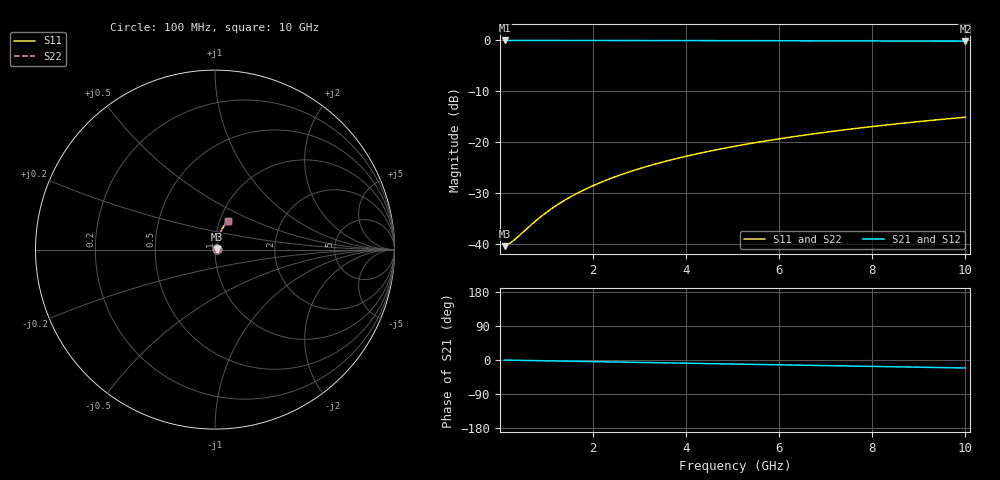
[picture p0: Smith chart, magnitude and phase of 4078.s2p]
# Hz S RI R 50.00
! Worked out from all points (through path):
!   100 points, 100 MHz to 10 GHz, reference 50 ohm
!   highest |S21| = -0.08 dB at 100 MHz (marker M1); lowest = -0.2 dB at 10 GHz (marker M2)
!   group delay of S21, straight-line fit = 5.85 ps
!   lowest |S11| = -40.4 dB at 100 MHz (marker M3), VSWR 1.02, Z = 50.9 + j0.181 ohm
!   |S11| at or under -10 dB: start of sweep to end of sweep
!   |S22| runs from -40.4 to -15.1 dB; largest |S21 - S12| = 0
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1e8  0.00941 0.00178  0.9906 -0.00367  0.9906 -0.00367  0.00941 0.00178
2e8  0.00949 0.00355  0.9905 -0.00734  0.9905 -0.00734  0.00949 0.00355
3e8  0.00957 0.00533  0.9904 -0.011  0.9904 -0.011  0.00957 0.00533
8e8  0.0101 0.0142  0.9898 -0.0294  0.9898 -0.0294  0.0101 0.0142
9e8  0.0102 0.016  0.9896 -0.033  0.9896 -0.033  0.0102 0.016
1.1e9  0.0105 0.0195  0.9893 -0.0403  0.9893 -0.0403  0.0105 0.0195
1.4e9  0.011 0.0248  0.9886 -0.0513  0.9886 -0.0513  0.011 0.0248
1.6e9  0.0115 0.0283  0.988 -0.0586  0.988 -0.0586  0.0115 0.0283
1.8e9  0.0119 0.0318  0.9874 -0.0659  0.9874 -0.0659  0.0119 0.0318
2.1e9  0.0127 0.0371  0.9864 -0.0769  0.9864 -0.0769  0.0127 0.0371
2.5e9  0.014 0.0441  0.9848 -0.0915  0.9848 -0.0915  0.014 0.0441
2.9e9  0.0154 0.051  0.983 -0.106  0.983 -0.106  0.0154 0.051
3.4e9  0.0175 0.0596  0.9803 -0.1241  0.9803 -0.1241  0.0175 0.0596
3.8e9  0.0194 0.0664  0.9779 -0.1385  0.9779 -0.1385  0.0194 0.0664
4.2e9  0.0215 0.0731  0.9752 -0.1528  0.9752 -0.1528  0.0215 0.0731
4.6e9  0.0238 0.0798  0.9723 -0.1671  0.9723 -0.1671  0.0238 0.0798
5.1e9  0.027 0.088  0.9682 -0.1848  0.9682 -0.1848  0.027 0.088
5.9e9  0.0326 0.1009  0.961 -0.2129  0.961 -0.2129  0.0326 0.1009
6.7e9  0.039 0.1134  0.9528 -0.2406  0.9528 -0.2406  0.039 0.1134
7.5e9  0.046 0.1255  0.9436 -0.2678  0.9436 -0.2678  0.046 0.1255
8.4e9  0.0548 0.1385  0.9322 -0.298  0.9322 -0.298  0.0548 0.1385
1e10  0.0723 0.16  0.9093 -0.3499  0.9093 -0.3499  0.0723 0.16
